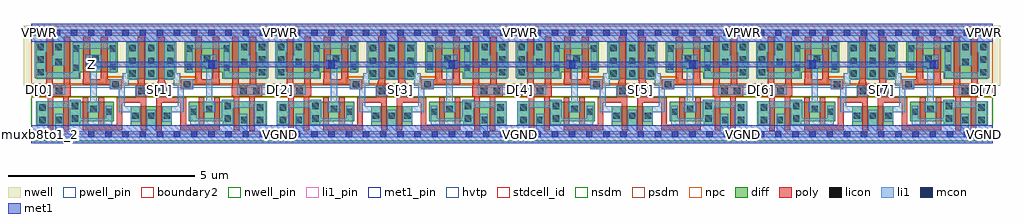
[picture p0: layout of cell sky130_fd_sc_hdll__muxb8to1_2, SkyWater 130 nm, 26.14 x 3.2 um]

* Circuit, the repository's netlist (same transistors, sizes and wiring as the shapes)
* Copyright 2020 The SkyWater PDK Authors
*
* Licensed under the Apache License, Version 2.0 (the "License");
* you may not use this file except in compliance with the License.
* You may obtain a copy of the License at
*
*     https://www.apache.org/licenses/LICENSE-2.0
*
* Unless required by applicable law or agreed to in writing, software
* distributed under the License is distributed on an "AS IS" BASIS,
* WITHOUT WARRANTIES OR CONDITIONS OF ANY KIND, either express or implied.
* See the License for the specific language governing permissions and
* limitations under the License.
*
* SPDX-License-Identifier: Apache-2.0

.SUBCKT sky130_fd_sc_hdll__muxb8to1_2 D[7] D[6] D[5] D[4] D[3] D[2] D[1] D[0] S[7] S[6] S[5] S[4] S[3] S[2] S[1] S[0] VGND VNB VPB VPWR Z
*.PININFO D[7]:I D[6]:I D[5]:I D[4]:I D[3]:I D[2]:I D[1]:I D[0]:I
*.PININFO S[7]:I S[6]:I S[5]:I S[4]:I S[3]:I S[2]:I S[1]:I S[0]:I
*.PININFO VGND:I VNB:I VPB:I VPWR:I Z:O
MMNA00 Z S[0] net87 VNB sky130_fd_pr__nfet_01v8 m=2 w=0.52U l=0.15U mult=1 sa=0.265
+ sb=0.265 sd=0.28 area=0.063 perim=1.14
MMNA01 net87 D[0] VGND VNB sky130_fd_pr__nfet_01v8 m=2 w=0.65U l=0.15U mult=1 sa=0.265
+ sb=0.265 sd=0.28 area=0.063 perim=1.14
MMIN1 SB0 S[0] VGND VNB sky130_fd_pr__nfet_01v8 m=1 w=0.52U l=0.15U mult=1 sa=0.265
+ sb=0.265 sd=0.28 area=0.063 perim=1.14
MI30 Z S[2] net51 VNB sky130_fd_pr__nfet_01v8 m=2 w=0.52U l=0.15U mult=1 sa=0.265
+ sb=0.265 sd=0.28 area=0.063 perim=1.14
MI29 net51 D[2] VGND VNB sky130_fd_pr__nfet_01v8 m=2 w=0.65U l=0.15U mult=1 sa=0.265
+ sb=0.265 sd=0.28 area=0.063 perim=1.14
MI28 SB2 S[2] VGND VNB sky130_fd_pr__nfet_01v8 m=1 w=0.52U l=0.15U mult=1 sa=0.265
+ sb=0.265 sd=0.28 area=0.063 perim=1.14
MI27 SB3 S[3] VGND VNB sky130_fd_pr__nfet_01v8 m=1 w=0.52U l=0.15U mult=1 sa=0.265
+ sb=0.265 sd=0.28 area=0.063 perim=1.14
MI26 net63 D[3] VGND VNB sky130_fd_pr__nfet_01v8 m=2 w=0.65U l=0.15U mult=1 sa=0.265
+ sb=0.265 sd=0.28 area=0.063 perim=1.14
MI25 Z S[3] net63 VNB sky130_fd_pr__nfet_01v8 m=2 w=0.52U l=0.15U mult=1 sa=0.265
+ sb=0.265 sd=0.28 area=0.063 perim=1.14
MI13 Z S[1] net75 VNB sky130_fd_pr__nfet_01v8 m=2 w=0.52U l=0.15U mult=1 sa=0.265
+ sb=0.265 sd=0.28 area=0.063 perim=1.14
MI12 net75 D[1] VGND VNB sky130_fd_pr__nfet_01v8 m=2 w=0.65U l=0.15U mult=1 sa=0.265
+ sb=0.265 sd=0.28 area=0.063 perim=1.14
MI11 SB1 S[1] VGND VNB sky130_fd_pr__nfet_01v8 m=1 w=0.52U l=0.15U mult=1 sa=0.265
+ sb=0.265 sd=0.28 area=0.063 perim=1.14
MI67 Z S[4] net073 VNB sky130_fd_pr__nfet_01v8 m=2 w=0.52U l=0.15U mult=1 sa=0.265
+ sb=0.265 sd=0.28 area=0.063 perim=1.14
MI66 net073 D[4] VGND VNB sky130_fd_pr__nfet_01v8 m=2 w=0.65U l=0.15U mult=1 sa=0.265
+ sb=0.265 sd=0.28 area=0.063 perim=1.14
MI65 SB4 S[4] VGND VNB sky130_fd_pr__nfet_01v8 m=1 w=0.52U l=0.15U mult=1 sa=0.265
+ sb=0.265 sd=0.28 area=0.063 perim=1.14
MI64 Z S[6] net085 VNB sky130_fd_pr__nfet_01v8 m=2 w=0.52U l=0.15U mult=1 sa=0.265
+ sb=0.265 sd=0.28 area=0.063 perim=1.14
MI63 net085 D[6] VGND VNB sky130_fd_pr__nfet_01v8 m=2 w=0.65U l=0.15U mult=1 sa=0.265
+ sb=0.265 sd=0.28 area=0.063 perim=1.14
MI62 SB6 S[6] VGND VNB sky130_fd_pr__nfet_01v8 m=1 w=0.52U l=0.15U mult=1 sa=0.265
+ sb=0.265 sd=0.28 area=0.063 perim=1.14
MI61 SB7 S[7] VGND VNB sky130_fd_pr__nfet_01v8 m=1 w=0.52U l=0.15U mult=1 sa=0.265
+ sb=0.265 sd=0.28 area=0.063 perim=1.14
MI60 net097 D[7] VGND VNB sky130_fd_pr__nfet_01v8 m=2 w=0.65U l=0.15U mult=1 sa=0.265
+ sb=0.265 sd=0.28 area=0.063 perim=1.14
MI59 Z S[7] net097 VNB sky130_fd_pr__nfet_01v8 m=2 w=0.52U l=0.15U mult=1 sa=0.265
+ sb=0.265 sd=0.28 area=0.063 perim=1.14
MI58 Z S[5] net0109 VNB sky130_fd_pr__nfet_01v8 m=2 w=0.52U l=0.15U mult=1 sa=0.265
+ sb=0.265 sd=0.28 area=0.063 perim=1.14
MI57 net0109 D[5] VGND VNB sky130_fd_pr__nfet_01v8 m=2 w=0.65U l=0.15U mult=1 sa=0.265
+ sb=0.265 sd=0.28 area=0.063 perim=1.14
MI56 SB5 S[5] VGND VNB sky130_fd_pr__nfet_01v8 m=1 w=0.52U l=0.15U mult=1 sa=0.265
+ sb=0.265 sd=0.28 area=0.063 perim=1.14
MI35 net99 SB2 Z VPB sky130_fd_pr__pfet_01v8_hvt m=2 w=0.82U l=0.18U mult=1 sa=0.265
+ sb=0.265 sd=0.28 area=0.063 perim=1.14
MI34 SB2 S[2] VPWR VPB sky130_fd_pr__pfet_01v8_hvt m=1 w=1.0U l=0.18U mult=1 sa=0.265
+ sb=0.265 sd=0.28 area=0.063 perim=1.14
MMPA00 VPWR D[0] net135 VPB sky130_fd_pr__pfet_01v8_hvt m=2 w=1.0U l=0.18U mult=1
+ sa=0.265 sb=0.265 sd=0.28 area=0.063 perim=1.14
MMPA01 net135 SB0 Z VPB sky130_fd_pr__pfet_01v8_hvt m=2 w=0.82U l=0.18U mult=1
+ sa=0.265 sb=0.265 sd=0.28 area=0.063 perim=1.14
MI33 SB3 S[3] VPWR VPB sky130_fd_pr__pfet_01v8_hvt m=1 w=1.0U l=0.18U mult=1 sa=0.265
+ sb=0.265 sd=0.28 area=0.063 perim=1.14
MI32 net111 SB3 Z VPB sky130_fd_pr__pfet_01v8_hvt m=2 w=0.82U l=0.18U mult=1 sa=0.265
+ sb=0.265 sd=0.28 area=0.063 perim=1.14
MI31 VPWR D[3] net111 VPB sky130_fd_pr__pfet_01v8_hvt m=2 w=1.0U l=0.18U mult=1
+ sa=0.265 sb=0.265 sd=0.28 area=0.063 perim=1.14
MMIP1 SB0 S[0] VPWR VPB sky130_fd_pr__pfet_01v8_hvt m=1 w=1.0U l=0.18U mult=1 sa=0.265
+ sb=0.265 sd=0.28 area=0.063 perim=1.14
MI15 net123 SB1 Z VPB sky130_fd_pr__pfet_01v8_hvt m=2 w=0.82U l=0.18U mult=1 sa=0.265
+ sb=0.265 sd=0.28 area=0.063 perim=1.14
MI16 VPWR D[1] net123 VPB sky130_fd_pr__pfet_01v8_hvt m=2 w=1.0U l=0.18U mult=1
+ sa=0.265 sb=0.265 sd=0.28 area=0.063 perim=1.14
MI14 SB1 S[1] VPWR VPB sky130_fd_pr__pfet_01v8_hvt m=1 w=1.0U l=0.18U mult=1 sa=0.265
+ sb=0.265 sd=0.28 area=0.063 perim=1.14
MI36 VPWR D[2] net99 VPB sky130_fd_pr__pfet_01v8_hvt m=2 w=1.0U l=0.18U mult=1
+ sa=0.265 sb=0.265 sd=0.28 area=0.063 perim=1.14
MI79 net0165 SB6 Z VPB sky130_fd_pr__pfet_01v8_hvt m=2 w=0.82U l=0.18U mult=1 sa=0.265
+ sb=0.265 sd=0.28 area=0.063 perim=1.14
MI78 SB6 S[6] VPWR VPB sky130_fd_pr__pfet_01v8_hvt m=1 w=1.0U l=0.18U mult=1 sa=0.265
+ sb=0.265 sd=0.28 area=0.063 perim=1.14
MI77 VPWR D[4] net0177 VPB sky130_fd_pr__pfet_01v8_hvt m=2 w=1.0U l=0.18U mult=1
+ sa=0.265 sb=0.265 sd=0.28 area=0.063 perim=1.14
MI76 net0177 SB4 Z VPB sky130_fd_pr__pfet_01v8_hvt m=2 w=0.82U l=0.18U mult=1 sa=0.265
+ sb=0.265 sd=0.28 area=0.063 perim=1.14
MI75 SB7 S[7] VPWR VPB sky130_fd_pr__pfet_01v8_hvt m=1 w=1.0U l=0.18U mult=1 sa=0.265
+ sb=0.265 sd=0.28 area=0.063 perim=1.14
MI74 net0185 SB7 Z VPB sky130_fd_pr__pfet_01v8_hvt m=2 w=0.82U l=0.18U mult=1 sa=0.265
+ sb=0.265 sd=0.28 area=0.063 perim=1.14
MI73 VPWR D[7] net0185 VPB sky130_fd_pr__pfet_01v8_hvt m=2 w=1.0U l=0.18U mult=1
+ sa=0.265 sb=0.265 sd=0.28 area=0.063 perim=1.14
MI72 SB4 S[4] VPWR VPB sky130_fd_pr__pfet_01v8_hvt m=1 w=1.0U l=0.18U mult=1 sa=0.265
+ sb=0.265 sd=0.28 area=0.063 perim=1.14
MI71 net0197 SB5 Z VPB sky130_fd_pr__pfet_01v8_hvt m=2 w=0.82U l=0.18U mult=1 sa=0.265
+ sb=0.265 sd=0.28 area=0.063 perim=1.14
MI70 VPWR D[5] net0197 VPB sky130_fd_pr__pfet_01v8_hvt m=2 w=1.0U l=0.18U mult=1
+ sa=0.265 sb=0.265 sd=0.28 area=0.063 perim=1.14
MI69 SB5 S[5] VPWR VPB sky130_fd_pr__pfet_01v8_hvt m=1 w=1.0U l=0.18U mult=1 sa=0.265
+ sb=0.265 sd=0.28 area=0.063 perim=1.14
MI68 VPWR D[6] net0165 VPB sky130_fd_pr__pfet_01v8_hvt m=2 w=1.0U l=0.18U mult=1
+ sa=0.265 sb=0.265 sd=0.28 area=0.063 perim=1.14
.ENDS sky130_fd_sc_hdll__muxb8to1_2

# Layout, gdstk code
import gdstk
lib = gdstk.Library(unit=1e-6, precision=1e-09)
def R(c, l, rs):  # rectangles x0, y0, x1, y1
    for r in rs: c.add(gdstk.rectangle(r[:2], r[2:], *l))
def A(c, l, x, y, w, h, nx, ny, dx, dy):  # array of equal rectangles
    R(c, l, [(x+i*dx, y+j*dy, x+i*dx+w, y+j*dy+h) for i in range(nx) for j in range(ny)])
def P(c, l, *ps):  # polygons
    for p in ps: c.add(gdstk.Polygon(p, *l))
nwell_pin = (64, 16)
nwell = (64, 20)
diff = (65, 20)
poly = (66, 20)
licon = (66, 44)
li1_pin = (67, 16)
li1 = (67, 20)
mcon = (67, 44)
met1_pin = (68, 16)
met1 = (68, 20)
hvtp = (78, 44)
stdcell_id = (81, 4)
nsdm = (93, 44)
psdm = (94, 20)
npc = (95, 20)
pwell_pin = (122, 16)
boundary2 = (236, 0)

sky130_fd_sc_hdll__muxb8 = lib.new_cell('sky130_fd_sc_hdll__muxb8to1_2')
R(sky130_fd_sc_hdll__muxb8, nwell_pin, [(0.145,2.635,0.315,2.805), (0.145,2.635,0.315,2.805), (6.125,2.635,6.295,2.805), (6.585,2.635,6.755,2.805), (12.565,2.635,12.735,2.805), (13.025,2.635,13.195,2.805), (19.005,2.635,19.175,2.805), (19.465,2.635,19.635,2.805), (25.445,2.635,25.615,2.805)])
R(sky130_fd_sc_hdll__muxb8, nwell, [(-0.19,1.305,3.87,2.91), (2.57,1.305,6.63,2.91), (6.25,1.305,10.31,2.91), (9.01,1.305,13.07,2.91), (12.69,1.305,16.75,2.91), (15.45,1.305,19.51,2.91), (19.13,1.305,23.19,2.91), (21.89,1.305,25.95,2.91)])
R(sky130_fd_sc_hdll__muxb8, diff, [(2.675,0.235,3.345,0.755), (3.095,0.235,3.765,0.755), (9.115,0.235,9.785,0.755), (9.535,0.235,10.205,0.755), (15.555,0.235,16.225,0.755), (15.975,0.235,16.645,0.755), (21.995,0.235,22.665,0.755), (22.415,0.235,23.085,0.755), (2.59,1.485,3.345,2.485), (3.095,1.485,3.85,2.485), (9.03,1.485,9.785,2.485), (9.535,1.485,10.29,2.485), (15.47,1.485,16.225,2.485), (15.975,1.485,16.73,2.485), (21.91,1.485,22.665,2.485), (22.415,1.485,23.17,2.485)])
P(sky130_fd_sc_hdll__muxb8, diff, [(15.2,2.485),(13.015,2.485),(13.015,1.485),(14.195,1.485),(14.195,1.665),(15.2,1.665)],
  [(15.095,0.865),(14.19,0.865),(14.19,0.885),(13.015,0.885),(13.015,0.235),(14.19,0.235),(14.19,0.345),(15.095,0.345)],
  [(10.56,2.485),(12.745,2.485),(12.745,1.485),(11.565,1.485),(11.565,1.665),(10.56,1.665)],
  [(10.665,0.865),(11.57,0.865),(11.57,0.885),(12.745,0.885),(12.745,0.235),(11.57,0.235),(11.57,0.345),(10.665,0.345)],
  [(8.76,2.485),(6.575,2.485),(6.575,1.485),(7.755,1.485),(7.755,1.665),(8.76,1.665)],
  [(8.655,0.865),(7.75,0.865),(7.75,0.885),(6.575,0.885),(6.575,0.235),(7.75,0.235),(7.75,0.345),(8.655,0.345)],
  [(4.12,2.485),(6.305,2.485),(6.305,1.485),(5.125,1.485),(5.125,1.665),(4.12,1.665)],
  [(4.225,0.865),(5.13,0.865),(5.13,0.885),(6.305,0.885),(6.305,0.235),(5.13,0.235),(5.13,0.345),(4.225,0.345)],
  [(2.32,2.485),(0.135,2.485),(0.135,1.485),(1.315,1.485),(1.315,1.665),(2.32,1.665)],
  [(2.215,0.865),(1.31,0.865),(1.31,0.885),(0.135,0.885),(0.135,0.235),(1.31,0.235),(1.31,0.345),(2.215,0.345)],
  [(17.105,0.865),(18.01,0.865),(18.01,0.885),(19.185,0.885),(19.185,0.235),(18.01,0.235),(18.01,0.345),(17.105,0.345)],
  [(17,2.485),(19.185,2.485),(19.185,1.485),(18.005,1.485),(18.005,1.665),(17,1.665)],
  [(21.535,0.865),(20.63,0.865),(20.63,0.885),(19.455,0.885),(19.455,0.235),(20.63,0.235),(20.63,0.345),(21.535,0.345)],
  [(21.64,2.485),(19.455,2.485),(19.455,1.485),(20.635,1.485),(20.635,1.665),(21.64,1.665)],
  [(23.545,0.865),(24.45,0.865),(24.45,0.885),(25.625,0.885),(25.625,0.235),(24.45,0.235),(24.45,0.345),(23.545,0.345)],
  [(23.44,2.485),(25.625,2.485),(25.625,1.485),(24.445,1.485),(24.445,1.665),(23.44,1.665)])
R(sky130_fd_sc_hdll__muxb8, poly, [(1.385,0.105,1.535,0.995), (1.41,0.105,2.415,0.255), (1.805,0.105,1.955,0.995), (2.29,0.105,2.44,0.995), (2.935,0.105,3.085,0.995), (3.355,0.105,3.505,0.995), (4,0.105,4.15,0.995), (4.025,0.105,5.03,0.255), (4.485,0.105,4.635,0.995), (4.905,0.105,5.055,0.995), (7.825,0.105,7.975,0.995), (7.85,0.105,8.855,0.255), (8.245,0.105,8.395,0.995), (8.73,0.105,8.88,0.995), (9.375,0.105,9.525,0.995), (9.795,0.105,9.945,0.995), (10.44,0.105,10.59,0.995), (10.465,0.105,11.47,0.255), (10.925,0.105,11.075,0.995), (11.345,0.105,11.495,0.995), (14.265,0.105,14.415,0.995), (14.29,0.105,15.295,0.255), (14.685,0.105,14.835,0.995), (15.17,0.105,15.32,0.995), (15.815,0.105,15.965,0.995), (16.235,0.105,16.385,0.995), (16.88,0.105,17.03,0.995), (16.905,0.105,17.91,0.255), (17.365,0.105,17.515,0.995), (17.785,0.105,17.935,0.995), (20.705,0.105,20.855,0.995), (20.73,0.105,21.735,0.255), (21.125,0.105,21.275,0.995), (21.61,0.105,21.76,0.995), (22.255,0.105,22.405,0.995), (22.675,0.105,22.825,0.995), (23.32,0.105,23.47,0.995), (23.345,0.105,24.35,0.255), (23.805,0.105,23.955,0.995), (24.225,0.105,24.375,0.995), (2.425,0.845,2.96,0.995), (3.48,0.845,4.015,0.995), (8.865,0.845,9.4,0.995), (9.92,0.845,10.455,0.995), (15.305,0.845,15.84,0.995), (16.36,0.845,16.895,0.995), (21.745,0.845,22.28,0.995), (22.8,0.845,23.335,0.995), (2.82,0.995,3.09,1.325), (3.35,0.995,3.62,1.325), (9.26,0.995,9.53,1.325), (9.79,0.995,10.06,1.325), (15.7,0.995,15.97,1.325), (16.23,0.995,16.5,1.325), (22.14,0.995,22.41,1.325), (22.67,0.995,22.94,1.325), (2.1,1.205,2.43,1.475), (4.01,1.205,4.34,1.475), (8.54,1.205,8.87,1.475), (10.45,1.205,10.78,1.475), (14.98,1.205,15.31,1.475), (16.89,1.205,17.22,1.475), (21.42,1.205,21.75,1.475), (23.33,1.205,23.66,1.475), (1.39,1.325,2.2,1.475), (4.24,1.325,5.05,1.475), (7.83,1.325,8.64,1.475), (10.68,1.325,11.49,1.475), (14.27,1.325,15.08,1.475), (17.12,1.325,17.93,1.475), (20.71,1.325,21.52,1.475), (23.56,1.325,24.37,1.475)])
P(sky130_fd_sc_hdll__muxb8, poly, [(17.93,1.41),(17.92,1.41),(17.92,2.615),(17.74,2.615),(17.74,1.41),(17.73,1.41),(17.73,1.325),(17.93,1.325)],
  [(17.46,1.41),(17.45,1.41),(17.45,2.615),(17.27,2.615),(17.27,1.41),(17.26,1.41),(17.26,1.325),(17.46,1.325)],
  [(18.255,1.295),(18.265,1.295),(18.265,2.615),(18.445,2.615),(18.445,1.295),(18.735,1.295),(18.735,2.615),(18.915,2.615),(18.915,1.295),(19.075,1.295),(19.075,1.025),(18.875,1.025),(18.875,0.095),(18.725,0.095),(18.725,1.025),(18.455,1.025),(18.455,0.105),(18.305,0.105),(18.305,1.025),(18.255,1.025)],
  [(16.27,1.41),(16.28,1.41),(16.28,2.615),(16.46,2.615),(16.46,1.41),(16.47,1.41),(16.47,1.195),(16.27,1.195)],
  [(14.27,1.41),(14.28,1.41),(14.28,2.615),(14.46,2.615),(14.46,1.41),(14.47,1.41),(14.47,1.325),(14.27,1.325)],
  [(14.74,1.41),(14.75,1.41),(14.75,2.615),(14.93,2.615),(14.93,1.41),(14.94,1.41),(14.94,1.325),(14.74,1.325)],
  [(13.945,1.295),(13.935,1.295),(13.935,2.615),(13.755,2.615),(13.755,1.295),(13.465,1.295),(13.465,2.615),(13.285,2.615),(13.285,1.295),(13.125,1.295),(13.125,1.025),(13.325,1.025),(13.325,0.095),(13.475,0.095),(13.475,1.025),(13.745,1.025),(13.745,0.105),(13.895,0.105),(13.895,1.025),(13.945,1.025)],
  [(15.93,1.41),(15.92,1.41),(15.92,2.615),(15.74,2.615),(15.74,1.41),(15.73,1.41),(15.73,1.195),(15.93,1.195)],
  [(11.49,1.41),(11.48,1.41),(11.48,2.615),(11.3,2.615),(11.3,1.41),(11.29,1.41),(11.29,1.325),(11.49,1.325)],
  [(11.02,1.41),(11.01,1.41),(11.01,2.615),(10.83,2.615),(10.83,1.41),(10.82,1.41),(10.82,1.325),(11.02,1.325)],
  [(11.815,1.295),(11.825,1.295),(11.825,2.615),(12.005,2.615),(12.005,1.295),(12.295,1.295),(12.295,2.615),(12.475,2.615),(12.475,1.295),(12.635,1.295),(12.635,1.025),(12.435,1.025),(12.435,0.095),(12.285,0.095),(12.285,1.025),(12.015,1.025),(12.015,0.105),(11.865,0.105),(11.865,1.025),(11.815,1.025)],
  [(9.83,1.41),(9.84,1.41),(9.84,2.615),(10.02,2.615),(10.02,1.41),(10.03,1.41),(10.03,1.195),(9.83,1.195)],
  [(7.83,1.41),(7.84,1.41),(7.84,2.615),(8.02,2.615),(8.02,1.41),(8.03,1.41),(8.03,1.325),(7.83,1.325)],
  [(8.3,1.41),(8.31,1.41),(8.31,2.615),(8.49,2.615),(8.49,1.41),(8.5,1.41),(8.5,1.325),(8.3,1.325)],
  [(7.505,1.295),(7.495,1.295),(7.495,2.615),(7.315,2.615),(7.315,1.295),(7.025,1.295),(7.025,2.615),(6.845,2.615),(6.845,1.295),(6.685,1.295),(6.685,1.025),(6.885,1.025),(6.885,0.095),(7.035,0.095),(7.035,1.025),(7.305,1.025),(7.305,0.105),(7.455,0.105),(7.455,1.025),(7.505,1.025)],
  [(9.49,1.41),(9.48,1.41),(9.48,2.615),(9.3,2.615),(9.3,1.41),(9.29,1.41),(9.29,1.195),(9.49,1.195)],
  [(5.05,1.41),(5.04,1.41),(5.04,2.615),(4.86,2.615),(4.86,1.41),(4.85,1.41),(4.85,1.325),(5.05,1.325)],
  [(4.58,1.41),(4.57,1.41),(4.57,2.615),(4.39,2.615),(4.39,1.41),(4.38,1.41),(4.38,1.325),(4.58,1.325)],
  [(5.375,1.295),(5.385,1.295),(5.385,2.615),(5.565,2.615),(5.565,1.295),(5.855,1.295),(5.855,2.615),(6.035,2.615),(6.035,1.295),(6.195,1.295),(6.195,1.025),(5.995,1.025),(5.995,0.095),(5.845,0.095),(5.845,1.025),(5.575,1.025),(5.575,0.105),(5.425,0.105),(5.425,1.025),(5.375,1.025)],
  [(3.39,1.41),(3.4,1.41),(3.4,2.615),(3.58,2.615),(3.58,1.41),(3.59,1.41),(3.59,1.195),(3.39,1.195)],
  [(1.39,1.41),(1.4,1.41),(1.4,2.615),(1.58,2.615),(1.58,1.41),(1.59,1.41),(1.59,1.325),(1.39,1.325)],
  [(1.86,1.41),(1.87,1.41),(1.87,2.615),(2.05,2.615),(2.05,1.41),(2.06,1.41),(2.06,1.325),(1.86,1.325)],
  [(1.065,1.295),(1.055,1.295),(1.055,2.615),(0.875,2.615),(0.875,1.295),(0.585,1.295),(0.585,2.615),(0.405,2.615),(0.405,1.295),(0.245,1.295),(0.245,1.025),(0.445,1.025),(0.445,0.095),(0.595,0.095),(0.595,1.025),(0.865,1.025),(0.865,0.105),(1.015,0.105),(1.015,1.025),(1.065,1.025)],
  [(3.05,1.41),(3.04,1.41),(3.04,2.615),(2.86,2.615),(2.86,1.41),(2.85,1.41),(2.85,1.195),(3.05,1.195)],
  [(22.37,1.41),(22.36,1.41),(22.36,2.615),(22.18,2.615),(22.18,1.41),(22.17,1.41),(22.17,1.195),(22.37,1.195)],
  [(20.385,1.295),(20.375,1.295),(20.375,2.615),(20.195,2.615),(20.195,1.295),(19.905,1.295),(19.905,2.615),(19.725,2.615),(19.725,1.295),(19.565,1.295),(19.565,1.025),(19.765,1.025),(19.765,0.095),(19.915,0.095),(19.915,1.025),(20.185,1.025),(20.185,0.105),(20.335,0.105),(20.335,1.025),(20.385,1.025)],
  [(21.18,1.41),(21.19,1.41),(21.19,2.615),(21.37,2.615),(21.37,1.41),(21.38,1.41),(21.38,1.325),(21.18,1.325)],
  [(20.71,1.41),(20.72,1.41),(20.72,2.615),(20.9,2.615),(20.9,1.41),(20.91,1.41),(20.91,1.325),(20.71,1.325)],
  [(22.71,1.41),(22.72,1.41),(22.72,2.615),(22.9,2.615),(22.9,1.41),(22.91,1.41),(22.91,1.195),(22.71,1.195)],
  [(24.695,1.295),(24.705,1.295),(24.705,2.615),(24.885,2.615),(24.885,1.295),(25.175,1.295),(25.175,2.615),(25.355,2.615),(25.355,1.295),(25.515,1.295),(25.515,1.025),(25.315,1.025),(25.315,0.095),(25.165,0.095),(25.165,1.025),(24.895,1.025),(24.895,0.105),(24.745,0.105),(24.745,1.025),(24.695,1.025)],
  [(23.9,1.41),(23.89,1.41),(23.89,2.615),(23.71,2.615),(23.71,1.41),(23.7,1.41),(23.7,1.325),(23.9,1.325)],
  [(24.37,1.41),(24.36,1.41),(24.36,2.615),(24.18,2.615),(24.18,1.41),(24.17,1.41),(24.17,1.325),(24.37,1.325)])
A(sky130_fd_sc_hdll__muxb8, licon, 2.63, 1.545, 0.17, 0.17, 1, 3, 0, 0.34)
A(sky130_fd_sc_hdll__muxb8, licon, 3.64, 1.545, 0.17, 0.17, 1, 3, 0, 0.34)
A(sky130_fd_sc_hdll__muxb8, licon, 9.07, 1.545, 0.17, 0.17, 1, 3, 0, 0.34)
A(sky130_fd_sc_hdll__muxb8, licon, 10.08, 1.545, 0.17, 0.17, 1, 3, 0, 0.34)
A(sky130_fd_sc_hdll__muxb8, licon, 15.51, 1.545, 0.17, 0.17, 1, 3, 0, 0.34)
A(sky130_fd_sc_hdll__muxb8, licon, 16.52, 1.545, 0.17, 0.17, 1, 3, 0, 0.34)
A(sky130_fd_sc_hdll__muxb8, licon, 21.95, 1.545, 0.17, 0.17, 1, 3, 0, 0.34)
A(sky130_fd_sc_hdll__muxb8, licon, 22.96, 1.545, 0.17, 0.17, 1, 3, 0, 0.34)
A(sky130_fd_sc_hdll__muxb8, licon, 0.175, 1.575, 0.17, 0.17, 1, 3, 0, 0.34)
A(sky130_fd_sc_hdll__muxb8, licon, 6.095, 1.575, 0.17, 0.17, 1, 3, 0, 0.34)
A(sky130_fd_sc_hdll__muxb8, licon, 6.615, 1.575, 0.17, 0.17, 1, 3, 0, 0.34)
A(sky130_fd_sc_hdll__muxb8, licon, 12.535, 1.575, 0.17, 0.17, 1, 3, 0, 0.34)
A(sky130_fd_sc_hdll__muxb8, licon, 13.055, 1.575, 0.17, 0.17, 1, 3, 0, 0.34)
A(sky130_fd_sc_hdll__muxb8, licon, 18.975, 1.575, 0.17, 0.17, 1, 3, 0, 0.34)
A(sky130_fd_sc_hdll__muxb8, licon, 19.495, 1.575, 0.17, 0.17, 1, 3, 0, 0.34)
A(sky130_fd_sc_hdll__muxb8, licon, 25.415, 1.575, 0.17, 0.17, 1, 3, 0, 0.34)
R(sky130_fd_sc_hdll__muxb8, licon, [(0.225,0.295,0.395,0.465), (0.645,0.295,0.815,0.465), (5.625,0.295,5.795,0.465), (6.045,0.295,6.215,0.465), (6.665,0.295,6.835,0.465), (7.085,0.295,7.255,0.465), (12.065,0.295,12.235,0.465), (12.485,0.295,12.655,0.465), (13.105,0.295,13.275,0.465), (13.525,0.295,13.695,0.465), (18.505,0.295,18.675,0.465), (18.925,0.295,19.095,0.465), (19.545,0.295,19.715,0.465), (19.965,0.295,20.135,0.465), (24.945,0.295,25.115,0.465), (25.365,0.295,25.535,0.465), (1.09,0.335,1.26,0.505), (5.18,0.335,5.35,0.505), (7.53,0.335,7.7,0.505), (11.62,0.335,11.79,0.505), (13.97,0.335,14.14,0.505), (18.06,0.335,18.23,0.505), (20.41,0.335,20.58,0.505), (24.5,0.335,24.67,0.505), (2.715,0.41,2.885,0.58), (3.135,0.41,3.305,0.58), (3.135,0.41,3.305,0.58), (3.555,0.41,3.725,0.58), (9.155,0.41,9.325,0.58), (9.575,0.41,9.745,0.58), (9.575,0.41,9.745,0.58), (9.995,0.41,10.165,0.58), (15.595,0.41,15.765,0.58), (16.015,0.41,16.185,0.58), (16.015,0.41,16.185,0.58), (16.435,0.41,16.605,0.58), (22.035,0.41,22.205,0.58), (22.455,0.41,22.625,0.58), (22.455,0.41,22.625,0.58), (22.875,0.41,23.045,0.58), (2.005,0.52,2.175,0.69), (4.265,0.52,4.435,0.69), (8.445,0.52,8.615,0.69), (10.705,0.52,10.875,0.69), (14.885,0.52,15.055,0.69), (17.145,0.52,17.315,0.69), (21.325,0.52,21.495,0.69), (23.585,0.52,23.755,0.69), (1.585,0.595,1.755,0.765), (4.685,0.595,4.855,0.765), (8.025,0.595,8.195,0.765), (11.125,0.595,11.295,0.765), (14.465,0.595,14.635,0.765), (17.565,0.595,17.735,0.765), (20.905,0.595,21.075,0.765), (24.005,0.595,24.175,0.765), (0.225,0.635,0.395,0.805), (6.045,0.635,6.215,0.805), (6.665,0.635,6.835,0.805), (12.485,0.635,12.655,0.805), (13.105,0.635,13.275,0.805), (18.925,0.635,19.095,0.805), (19.545,0.635,19.715,0.805), (25.365,0.635,25.535,0.805), (1.09,0.675,1.26,0.845), (5.18,0.675,5.35,0.845), (7.53,0.675,7.7,0.845), (11.62,0.675,11.79,0.845), (13.97,0.675,14.14,0.845), (18.06,0.675,18.23,0.845), (20.41,0.675,20.58,0.845), (24.5,0.675,24.67,0.845), (0.325,1.075,0.495,1.245), (0.665,1.075,0.835,1.245), (2.87,1.075,3.04,1.245), (3.4,1.075,3.57,1.245), (5.605,1.075,5.775,1.245), (5.945,1.075,6.115,1.245), (6.765,1.075,6.935,1.245), (7.105,1.075,7.275,1.245), (9.31,1.075,9.48,1.245), (9.84,1.075,10.01,1.245), (12.045,1.075,12.215,1.245), (12.385,1.075,12.555,1.245), (13.205,1.075,13.375,1.245), (13.545,1.075,13.715,1.245), (15.75,1.075,15.92,1.245), (16.28,1.075,16.45,1.245), (18.485,1.075,18.655,1.245), (18.825,1.075,18.995,1.245), (19.645,1.075,19.815,1.245), (19.985,1.075,20.155,1.245), (22.19,1.075,22.36,1.245), (22.72,1.075,22.89,1.245), (24.925,1.075,25.095,1.245), (25.265,1.075,25.435,1.245), (2.18,1.255,2.35,1.425), (4.09,1.255,4.26,1.425), (8.62,1.255,8.79,1.425), (10.53,1.255,10.7,1.425), (15.06,1.255,15.23,1.425), (16.97,1.255,17.14,1.425), (21.5,1.255,21.67,1.425), (23.41,1.255,23.58,1.425), (3.135,1.545,3.305,1.715), (3.135,1.545,3.305,1.715), (9.575,1.545,9.745,1.715), (9.575,1.545,9.745,1.715), (16.015,1.545,16.185,1.715), (16.015,1.545,16.185,1.715), (22.455,1.545,22.625,1.715), (22.455,1.545,22.625,1.715), (1.115,1.695,1.285,1.865), (5.155,1.695,5.325,1.865), (7.555,1.695,7.725,1.865), (11.595,1.695,11.765,1.865), (13.995,1.695,14.165,1.865), (18.035,1.695,18.205,1.865), (20.435,1.695,20.605,1.865), (24.475,1.695,24.645,1.865), (2.11,1.725,2.28,1.895), (4.16,1.725,4.33,1.895), (8.55,1.725,8.72,1.895), (10.6,1.725,10.77,1.895), (14.99,1.725,15.16,1.895), (17.04,1.725,17.21,1.895), (21.43,1.725,21.6,1.895), (23.48,1.725,23.65,1.895), (0.645,1.855,0.815,2.025), (5.625,1.855,5.795,2.025), (7.085,1.855,7.255,2.025), (12.065,1.855,12.235,2.025), (13.525,1.855,13.695,2.025), (18.505,1.855,18.675,2.025), (19.965,1.855,20.135,2.025), (24.945,1.855,25.115,2.025), (3.135,1.885,3.305,2.055), (3.135,1.885,3.305,2.055), (9.575,1.885,9.745,2.055), (9.575,1.885,9.745,2.055), (16.015,1.885,16.185,2.055), (16.015,1.885,16.185,2.055), (22.455,1.885,22.625,2.055), (22.455,1.885,22.625,2.055), (1.64,1.935,1.81,2.105), (4.63,1.935,4.8,2.105), (8.08,1.935,8.25,2.105), (11.07,1.935,11.24,2.105), (14.52,1.935,14.69,2.105), (17.51,1.935,17.68,2.105), (20.96,1.935,21.13,2.105), (23.95,1.935,24.12,2.105), (1.115,2.215,1.285,2.385), (2.11,2.215,2.28,2.385), (4.16,2.215,4.33,2.385), (5.155,2.215,5.325,2.385), (7.555,2.215,7.725,2.385), (8.55,2.215,8.72,2.385), (10.6,2.215,10.77,2.385), (11.595,2.215,11.765,2.385), (13.995,2.215,14.165,2.385), (14.99,2.215,15.16,2.385), (17.04,2.215,17.21,2.385), (18.035,2.215,18.205,2.385), (20.435,2.215,20.605,2.385), (21.43,2.215,21.6,2.385), (23.48,2.215,23.65,2.385), (24.475,2.215,24.645,2.385), (3.135,2.225,3.305,2.395), (3.135,2.225,3.305,2.395), (9.575,2.225,9.745,2.395), (9.575,2.225,9.745,2.395), (16.015,2.225,16.185,2.395), (16.015,2.225,16.185,2.395), (22.455,2.225,22.625,2.395), (22.455,2.225,22.625,2.395), (0.645,2.255,0.815,2.425), (5.625,2.255,5.795,2.425), (7.085,2.255,7.255,2.425), (12.065,2.255,12.235,2.425), (13.525,2.255,13.695,2.425), (18.505,2.255,18.675,2.425), (19.965,2.255,20.135,2.425), (24.945,2.255,25.115,2.425)])
R(sky130_fd_sc_hdll__muxb8, li1_pin, [(0.145,1.105,0.315,1.275), (0.145,1.105,0.315,1.275), (2.905,1.105,3.075,1.275), (2.905,1.105,3.075,1.275), (3.365,1.105,3.535,1.275), (3.365,1.105,3.535,1.275), (6.125,1.105,6.295,1.275), (6.125,1.105,6.295,1.275), (6.585,1.105,6.755,1.275), (6.585,1.105,6.755,1.275), (9.345,1.105,9.515,1.275), (9.345,1.105,9.515,1.275), (9.805,1.105,9.975,1.275), (9.805,1.105,9.975,1.275), (12.565,1.105,12.735,1.275), (12.565,1.105,12.735,1.275), (13.025,1.105,13.195,1.275), (13.025,1.105,13.195,1.275), (15.785,1.105,15.955,1.275), (15.785,1.105,15.955,1.275), (16.245,1.105,16.415,1.275), (16.245,1.105,16.415,1.275), (19.005,1.105,19.175,1.275), (19.005,1.105,19.175,1.275), (19.465,1.105,19.635,1.275), (19.465,1.105,19.635,1.275), (22.225,1.105,22.395,1.275), (22.225,1.105,22.395,1.275), (22.685,1.105,22.855,1.275), (22.685,1.105,22.855,1.275), (25.445,1.105,25.615,1.275), (25.445,1.105,25.615,1.275)])
R(sky130_fd_sc_hdll__muxb8, li1, [(0,-0.085,3.68,0.085), (2.76,-0.085,6.44,0.085), (6.44,-0.085,10.12,0.085), (9.2,-0.085,12.88,0.085), (12.88,-0.085,16.56,0.085), (15.64,-0.085,19.32,0.085), (19.32,-0.085,23,0.085), (22.08,-0.085,25.76,0.085), (0.645,0.085,0.86,0.545), (3.095,0.085,3.345,0.66), (3.095,0.085,3.345,0.66), (5.58,0.085,5.795,0.545), (7.085,0.085,7.3,0.545), (9.535,0.085,9.785,0.66), (9.535,0.085,9.785,0.66), (12.02,0.085,12.235,0.545), (13.525,0.085,13.74,0.545), (15.975,0.085,16.225,0.66), (15.975,0.085,16.225,0.66), (18.46,0.085,18.675,0.545), (19.965,0.085,20.18,0.545), (22.415,0.085,22.665,0.66), (22.415,0.085,22.665,0.66), (24.9,0.085,25.115,0.545), (2.675,0.33,2.925,0.755), (3.515,0.33,3.765,0.755), (9.115,0.33,9.365,0.755), (9.955,0.33,10.205,0.755), (15.555,0.33,15.805,0.755), (16.395,0.33,16.645,0.755), (21.995,0.33,22.245,0.755), (22.835,0.33,23.085,0.755), (1.505,0.595,1.835,0.885), (4.605,0.595,4.935,0.885), (7.945,0.595,8.275,0.885), (11.045,0.595,11.375,0.885), (14.385,0.595,14.715,0.885), (17.485,0.595,17.815,0.885), (20.825,0.595,21.155,0.885), (23.925,0.595,24.255,0.885), (1.585,0.885,1.755,1.985), (4.685,0.885,4.855,1.985), (8.025,0.885,8.195,1.985), (11.125,0.885,11.295,1.985), (14.465,0.885,14.635,1.985), (17.565,0.885,17.735,1.985), (20.905,0.885,21.075,1.985), (24.005,0.885,24.175,1.985), (2.79,1.025,3.125,1.295), (3.315,1.025,3.65,1.295), (9.23,1.025,9.565,1.295), (9.755,1.025,10.09,1.295), (15.67,1.025,16.005,1.295), (16.195,1.025,16.53,1.295), (22.11,1.025,22.445,1.295), (22.635,1.025,22.97,1.295), (0.095,1.055,0.915,1.325), (5.525,1.055,6.345,1.325), (6.535,1.055,7.355,1.325), (11.965,1.055,12.785,1.325), (12.975,1.055,13.795,1.325), (18.405,1.055,19.225,1.325), (19.415,1.055,20.235,1.325), (24.845,1.055,25.665,1.325), (2.1,1.205,2.43,1.475), (4.01,1.205,4.34,1.475), (8.54,1.205,8.87,1.475), (10.45,1.205,10.78,1.475), (14.98,1.205,15.31,1.475), (16.89,1.205,17.22,1.475), (21.42,1.205,21.75,1.475), (23.33,1.205,23.66,1.475), (3.055,1.465,3.385,2.635), (3.055,1.465,3.385,2.635), (9.495,1.465,9.825,2.635), (9.495,1.465,9.825,2.635), (15.935,1.465,16.265,2.635), (15.935,1.465,16.265,2.635), (22.375,1.465,22.705,2.635), (22.375,1.465,22.705,2.635), (1.465,1.755,1.895,2.125), (4.545,1.755,4.975,2.125), (7.905,1.755,8.335,2.125), (10.985,1.755,11.415,2.125), (14.345,1.755,14.775,2.125), (17.425,1.755,17.855,2.125), (20.785,1.755,21.215,2.125), (23.865,1.755,24.295,2.125), (0,2.635,3.68,2.805), (2.76,2.635,6.44,2.805), (6.44,2.635,10.12,2.805), (9.2,2.635,12.88,2.805), (12.88,2.635,16.56,2.805), (15.64,2.635,19.32,2.805), (19.32,2.635,23,2.805), (22.08,2.635,25.76,2.805)])
P(sky130_fd_sc_hdll__muxb8, li1, [(13.775,2.635),(13.475,2.635),(13.475,2.105),(13.445,2.105),(13.445,1.835),(13.775,1.835)],
  [(15.16,2.465),(13.995,2.465),(13.995,1.665),(13.275,1.665),(13.275,2.21),(13.305,2.21),(13.305,2.465),(12.975,2.465),(12.975,1.495),(14.165,1.495),(14.165,2.295),(14.99,2.295),(14.99,1.645),(15.16,1.645)],
  [(15.055,0.77),(14.885,0.77),(14.885,0.425),(14.215,0.425),(14.215,0.925),(13.91,0.925),(13.91,0.885),(13.025,0.885),(13.025,0.255),(13.355,0.255),(13.355,0.715),(13.91,0.715),(13.91,0.255),(15.055,0.255)],
  [(15.76,2.465),(15.43,2.465),(15.43,1.635),(15.33,1.635),(15.33,1.475),(15.225,1.475),(15.225,0.585),(15.725,0.585),(15.725,0.755),(15.395,0.755),(15.395,1.305),(15.5,1.305),(15.5,1.465),(15.76,1.465)],
  [(11.985,2.635),(12.285,2.635),(12.285,2.105),(12.315,2.105),(12.315,1.835),(11.985,1.835)],
  [(10.6,2.465),(11.765,2.465),(11.765,1.665),(12.485,1.665),(12.485,2.21),(12.455,2.21),(12.455,2.465),(12.785,2.465),(12.785,1.495),(11.595,1.495),(11.595,2.295),(10.77,2.295),(10.77,1.645),(10.6,1.645)],
  [(10.705,0.77),(10.875,0.77),(10.875,0.425),(11.545,0.425),(11.545,0.925),(11.85,0.925),(11.85,0.885),(12.735,0.885),(12.735,0.255),(12.405,0.255),(12.405,0.715),(11.85,0.715),(11.85,0.255),(10.705,0.255)],
  [(10,2.465),(10.33,2.465),(10.33,1.635),(10.43,1.635),(10.43,1.475),(10.535,1.475),(10.535,0.585),(10.035,0.585),(10.035,0.755),(10.365,0.755),(10.365,1.305),(10.26,1.305),(10.26,1.465),(10,1.465)],
  [(7.335,2.635),(7.035,2.635),(7.035,2.105),(7.005,2.105),(7.005,1.835),(7.335,1.835)],
  [(8.72,2.465),(7.555,2.465),(7.555,1.665),(6.835,1.665),(6.835,2.21),(6.865,2.21),(6.865,2.465),(6.535,2.465),(6.535,1.495),(7.725,1.495),(7.725,2.295),(8.55,2.295),(8.55,1.645),(8.72,1.645)],
  [(8.615,0.77),(8.445,0.77),(8.445,0.425),(7.775,0.425),(7.775,0.925),(7.47,0.925),(7.47,0.885),(6.585,0.885),(6.585,0.255),(6.915,0.255),(6.915,0.715),(7.47,0.715),(7.47,0.255),(8.615,0.255)],
  [(9.32,2.465),(8.99,2.465),(8.99,1.635),(8.89,1.635),(8.89,1.475),(8.785,1.475),(8.785,0.585),(9.285,0.585),(9.285,0.755),(8.955,0.755),(8.955,1.305),(9.06,1.305),(9.06,1.465),(9.32,1.465)],
  [(5.545,2.635),(5.845,2.635),(5.845,2.105),(5.875,2.105),(5.875,1.835),(5.545,1.835)],
  [(4.16,2.465),(5.325,2.465),(5.325,1.665),(6.045,1.665),(6.045,2.21),(6.015,2.21),(6.015,2.465),(6.345,2.465),(6.345,1.495),(5.155,1.495),(5.155,2.295),(4.33,2.295),(4.33,1.645),(4.16,1.645)],
  [(4.265,0.77),(4.435,0.77),(4.435,0.425),(5.105,0.425),(5.105,0.925),(5.41,0.925),(5.41,0.885),(6.295,0.885),(6.295,0.255),(5.965,0.255),(5.965,0.715),(5.41,0.715),(5.41,0.255),(4.265,0.255)],
  [(3.56,2.465),(3.89,2.465),(3.89,1.635),(3.99,1.635),(3.99,1.475),(4.095,1.475),(4.095,0.585),(3.595,0.585),(3.595,0.755),(3.925,0.755),(3.925,1.305),(3.82,1.305),(3.82,1.465),(3.56,1.465)],
  [(0.895,2.635),(0.595,2.635),(0.595,2.105),(0.565,2.105),(0.565,1.835),(0.895,1.835)],
  [(2.28,2.465),(1.115,2.465),(1.115,1.665),(0.395,1.665),(0.395,2.21),(0.425,2.21),(0.425,2.465),(0.095,2.465),(0.095,1.495),(1.285,1.495),(1.285,2.295),(2.11,2.295),(2.11,1.645),(2.28,1.645)],
  [(2.175,0.77),(2.005,0.77),(2.005,0.425),(1.335,0.425),(1.335,0.925),(1.03,0.925),(1.03,0.885),(0.145,0.885),(0.145,0.255),(0.475,0.255),(0.475,0.715),(1.03,0.715),(1.03,0.255),(2.175,0.255)],
  [(2.88,2.465),(2.55,2.465),(2.55,1.635),(2.45,1.635),(2.45,1.475),(2.345,1.475),(2.345,0.585),(2.845,0.585),(2.845,0.755),(2.515,0.755),(2.515,1.305),(2.62,1.305),(2.62,1.465),(2.88,1.465)],
  [(16.44,2.465),(16.77,2.465),(16.77,1.635),(16.87,1.635),(16.87,1.475),(16.975,1.475),(16.975,0.585),(16.475,0.585),(16.475,0.755),(16.805,0.755),(16.805,1.305),(16.7,1.305),(16.7,1.465),(16.44,1.465)],
  [(17.145,0.77),(17.315,0.77),(17.315,0.425),(17.985,0.425),(17.985,0.925),(18.29,0.925),(18.29,0.885),(19.175,0.885),(19.175,0.255),(18.845,0.255),(18.845,0.715),(18.29,0.715),(18.29,0.255),(17.145,0.255)],
  [(17.04,2.465),(18.205,2.465),(18.205,1.665),(18.925,1.665),(18.925,2.21),(18.895,2.21),(18.895,2.465),(19.225,2.465),(19.225,1.495),(18.035,1.495),(18.035,2.295),(17.21,2.295),(17.21,1.645),(17.04,1.645)],
  [(18.425,2.635),(18.725,2.635),(18.725,2.105),(18.755,2.105),(18.755,1.835),(18.425,1.835)],
  [(22.2,2.465),(21.87,2.465),(21.87,1.635),(21.77,1.635),(21.77,1.475),(21.665,1.475),(21.665,0.585),(22.165,0.585),(22.165,0.755),(21.835,0.755),(21.835,1.305),(21.94,1.305),(21.94,1.465),(22.2,1.465)],
  [(21.495,0.77),(21.325,0.77),(21.325,0.425),(20.655,0.425),(20.655,0.925),(20.35,0.925),(20.35,0.885),(19.465,0.885),(19.465,0.255),(19.795,0.255),(19.795,0.715),(20.35,0.715),(20.35,0.255),(21.495,0.255)],
  [(21.6,2.465),(20.435,2.465),(20.435,1.665),(19.715,1.665),(19.715,2.21),(19.745,2.21),(19.745,2.465),(19.415,2.465),(19.415,1.495),(20.605,1.495),(20.605,2.295),(21.43,2.295),(21.43,1.645),(21.6,1.645)],
  [(20.215,2.635),(19.915,2.635),(19.915,2.105),(19.885,2.105),(19.885,1.835),(20.215,1.835)],
  [(22.88,2.465),(23.21,2.465),(23.21,1.635),(23.31,1.635),(23.31,1.475),(23.415,1.475),(23.415,0.585),(22.915,0.585),(22.915,0.755),(23.245,0.755),(23.245,1.305),(23.14,1.305),(23.14,1.465),(22.88,1.465)],
  [(23.585,0.77),(23.755,0.77),(23.755,0.425),(24.425,0.425),(24.425,0.925),(24.73,0.925),(24.73,0.885),(25.615,0.885),(25.615,0.255),(25.285,0.255),(25.285,0.715),(24.73,0.715),(24.73,0.255),(23.585,0.255)],
  [(23.48,2.465),(24.645,2.465),(24.645,1.665),(25.365,1.665),(25.365,2.21),(25.335,2.21),(25.335,2.465),(25.665,2.465),(25.665,1.495),(24.475,1.495),(24.475,2.295),(23.65,2.295),(23.65,1.645),(23.48,1.645)],
  [(24.865,2.635),(25.165,2.635),(25.165,2.105),(25.195,2.105),(25.195,1.835),(24.865,1.835)])
A(sky130_fd_sc_hdll__muxb8, mcon, 0.145, -0.085, 0.17, 0.17, 7, 2, 0.46, 2.72)
A(sky130_fd_sc_hdll__muxb8, mcon, 3.365, -0.085, 0.17, 0.17, 14, 2, 0.46, 2.72)
A(sky130_fd_sc_hdll__muxb8, mcon, 9.805, -0.085, 0.17, 0.17, 14, 2, 0.46, 2.72)
A(sky130_fd_sc_hdll__muxb8, mcon, 16.245, -0.085, 0.17, 0.17, 14, 2, 0.46, 2.72)
A(sky130_fd_sc_hdll__muxb8, mcon, 22.685, -0.085, 0.17, 0.17, 7, 2, 0.46, 2.72)
A(sky130_fd_sc_hdll__muxb8, mcon, 1.525, 1.785, 0.17, 0.17, 8, 1, 3.22, 0)
R(sky130_fd_sc_hdll__muxb8, mcon, [(2.905,-0.085,3.075,0.085), (3.365,-0.085,3.535,0.085), (9.345,-0.085,9.515,0.085), (9.805,-0.085,9.975,0.085), (15.785,-0.085,15.955,0.085), (16.245,-0.085,16.415,0.085), (22.225,-0.085,22.395,0.085), (22.685,-0.085,22.855,0.085), (2.905,2.635,3.075,2.805), (3.365,2.635,3.535,2.805), (9.345,2.635,9.515,2.805), (9.805,2.635,9.975,2.805), (15.785,2.635,15.955,2.805), (16.245,2.635,16.415,2.805), (22.225,2.635,22.395,2.805), (22.685,2.635,22.855,2.805)])
A(sky130_fd_sc_hdll__muxb8, met1_pin, 1.525, 1.785, 0.17, 0.17, 8, 1, 3.22, 0)
R(sky130_fd_sc_hdll__muxb8, met1_pin, [(0.145,-0.085,0.315,0.085), (0.145,-0.085,0.315,0.085), (6.125,-0.085,6.295,0.085), (6.585,-0.085,6.755,0.085), (12.565,-0.085,12.735,0.085), (13.025,-0.085,13.195,0.085), (19.005,-0.085,19.175,0.085), (19.465,-0.085,19.635,0.085), (25.445,-0.085,25.615,0.085), (1.525,1.785,1.695,1.955), (0.145,2.635,0.315,2.805), (0.145,2.635,0.315,2.805), (6.125,2.635,6.295,2.805), (6.585,2.635,6.755,2.805), (12.565,2.635,12.735,2.805), (13.025,2.635,13.195,2.805), (19.005,2.635,19.175,2.805), (19.465,2.635,19.635,2.805), (25.445,2.635,25.615,2.805)])
A(sky130_fd_sc_hdll__muxb8, met1, 1.465, 1.755, 0.29, 0.23, 8, 1, 3.22, 0)
R(sky130_fd_sc_hdll__muxb8, met1, [(0,-0.24,3.68,0.24), (2.76,-0.24,6.44,0.24), (6.44,-0.24,10.12,0.24), (9.2,-0.24,12.88,0.24), (12.88,-0.24,16.56,0.24), (15.64,-0.24,19.32,0.24), (19.32,-0.24,23,0.24), (22.08,-0.24,25.76,0.24), (1.465,1.8,1.875,1.94), (1.465,1.8,24.295,1.94), (4.565,1.8,4.975,1.94), (7.905,1.8,8.315,1.94), (11.005,1.8,11.415,1.94), (14.345,1.8,14.755,1.94), (17.445,1.8,17.855,1.94), (20.785,1.8,21.195,1.94), (23.885,1.8,24.295,1.94), (0,2.48,3.68,2.96), (2.76,2.48,6.44,2.96), (6.44,2.48,10.12,2.96), (9.2,2.48,12.88,2.96), (12.88,2.48,16.56,2.96), (15.64,2.48,19.32,2.96), (19.32,2.48,23,2.96), (22.08,2.48,25.76,2.96)])
R(sky130_fd_sc_hdll__muxb8, hvtp, [(0,1.25,3.68,2.72), (2.76,1.25,6.44,2.72), (6.44,1.25,10.12,2.72), (9.2,1.25,12.88,2.72), (12.88,1.25,16.56,2.72), (15.64,1.25,19.32,2.72), (19.32,1.25,23,2.72), (22.08,1.25,25.76,2.72)])
R(sky130_fd_sc_hdll__muxb8, stdcell_id, [(0,0,25.76,2.72)])
R(sky130_fd_sc_hdll__muxb8, nsdm, [(0,-0.19,3.68,1.015), (2.76,-0.19,6.44,1.015), (6.44,-0.19,10.12,1.015), (9.2,-0.19,12.88,1.015), (12.88,-0.19,16.56,1.015), (15.64,-0.19,19.32,1.015), (19.32,-0.19,23,1.015), (22.08,-0.19,25.76,1.015)])
P(sky130_fd_sc_hdll__muxb8, psdm, [(15.64,2.91),(19.32,2.91),(19.32,1.355),(17.305,1.355),(17.305,1.535),(16.86,1.535),(16.86,1.355),(15.64,1.355)],
  [(16.56,2.91),(12.88,2.91),(12.88,1.355),(14.895,1.355),(14.895,1.535),(15.34,1.535),(15.34,1.355),(16.56,1.355)],
  [(9.2,2.91),(12.88,2.91),(12.88,1.355),(10.865,1.355),(10.865,1.535),(10.42,1.535),(10.42,1.355),(9.2,1.355)],
  [(10.12,2.91),(6.44,2.91),(6.44,1.355),(8.455,1.355),(8.455,1.535),(8.9,1.535),(8.9,1.355),(10.12,1.355)],
  [(2.76,2.91),(6.44,2.91),(6.44,1.355),(4.425,1.355),(4.425,1.535),(3.98,1.535),(3.98,1.355),(2.76,1.355)],
  [(3.68,2.91),(0,2.91),(0,1.355),(2.015,1.355),(2.015,1.535),(2.46,1.535),(2.46,1.355),(3.68,1.355)],
  [(23,2.91),(19.32,2.91),(19.32,1.355),(21.335,1.355),(21.335,1.535),(21.78,1.535),(21.78,1.355),(23,1.355)],
  [(22.08,2.91),(25.76,2.91),(25.76,1.355),(23.745,1.355),(23.745,1.535),(23.3,1.535),(23.3,1.355),(22.08,1.355)])
P(sky130_fd_sc_hdll__muxb8, npc, [(2.76,1.345),(3.99,1.345),(3.99,1.525),(4.415,1.525),(4.415,1.345),(6.44,1.345),(6.44,0.975),(2.76,0.975)],
  [(10.12,1.345),(8.89,1.345),(8.89,1.525),(8.465,1.525),(8.465,1.345),(6.44,1.345),(6.44,0.975),(10.12,0.975)],
  [(9.2,1.345),(10.43,1.345),(10.43,1.525),(10.855,1.525),(10.855,1.345),(12.88,1.345),(12.88,0.975),(9.2,0.975)],
  [(15.64,1.345),(16.87,1.345),(16.87,1.525),(17.295,1.525),(17.295,1.345),(19.32,1.345),(19.32,0.975),(15.64,0.975)],
  [(3.68,1.345),(2.45,1.345),(2.45,1.525),(2.025,1.525),(2.025,1.345),(0,1.345),(0,0.975),(3.68,0.975)],
  [(16.56,1.345),(15.33,1.345),(15.33,1.525),(14.905,1.525),(14.905,1.345),(12.88,1.345),(12.88,0.975),(16.56,0.975)],
  [(22.08,1.345),(23.31,1.345),(23.31,1.525),(23.735,1.525),(23.735,1.345),(25.76,1.345),(25.76,0.975),(22.08,0.975)],
  [(23,1.345),(21.77,1.345),(21.77,1.525),(21.345,1.525),(21.345,1.345),(19.32,1.345),(19.32,0.975),(23,0.975)])
R(sky130_fd_sc_hdll__muxb8, pwell_pin, [(0.145,-0.085,0.315,0.085), (0.145,-0.085,0.315,0.085), (6.125,-0.085,6.295,0.085), (6.585,-0.085,6.755,0.085), (12.565,-0.085,12.735,0.085), (13.025,-0.085,13.195,0.085), (19.005,-0.085,19.175,0.085), (19.465,-0.085,19.635,0.085), (25.445,-0.085,25.615,0.085)])
R(sky130_fd_sc_hdll__muxb8, boundary2, [(0,0,25.76,2.72)])
sky130_fd_sc_hdll__muxb8.add(gdstk.Label('muxb8to1_2', (0,0), layer=83, texttype=44))
sky130_fd_sc_hdll__muxb8.add(gdstk.Label('Z', (1.61,1.87), layer=68, texttype=5))
sky130_fd_sc_hdll__muxb8.add(gdstk.Label('VGND', (0.23,0), layer=68, texttype=5))
sky130_fd_sc_hdll__muxb8.add(gdstk.Label('VPWR', (0.23,2.72), layer=68, texttype=5))
sky130_fd_sc_hdll__muxb8.add(gdstk.Label('VGND', (13.11,0), layer=68, texttype=5))
sky130_fd_sc_hdll__muxb8.add(gdstk.Label('VPWR', (13.11,2.72), layer=68, texttype=5))
sky130_fd_sc_hdll__muxb8.add(gdstk.Label('VGND', (12.65,0), layer=68, texttype=5))
sky130_fd_sc_hdll__muxb8.add(gdstk.Label('VPWR', (12.65,2.72), layer=68, texttype=5))
sky130_fd_sc_hdll__muxb8.add(gdstk.Label('VGND', (6.67,0), layer=68, texttype=5))
sky130_fd_sc_hdll__muxb8.add(gdstk.Label('VPWR', (6.67,2.72), layer=68, texttype=5))
sky130_fd_sc_hdll__muxb8.add(gdstk.Label('VGND', (6.21,0), layer=68, texttype=5))
sky130_fd_sc_hdll__muxb8.add(gdstk.Label('VPWR', (6.21,2.72), layer=68, texttype=5))
sky130_fd_sc_hdll__muxb8.add(gdstk.Label('VGND', (0.23,0), layer=68, texttype=5))
sky130_fd_sc_hdll__muxb8.add(gdstk.Label('VPWR', (0.23,2.72), layer=68, texttype=5))
sky130_fd_sc_hdll__muxb8.add(gdstk.Label('VPWR', (19.09,2.72), layer=68, texttype=5))
sky130_fd_sc_hdll__muxb8.add(gdstk.Label('VGND', (19.09,0), layer=68, texttype=5))
sky130_fd_sc_hdll__muxb8.add(gdstk.Label('VPWR', (19.55,2.72), layer=68, texttype=5))
sky130_fd_sc_hdll__muxb8.add(gdstk.Label('VGND', (19.55,0), layer=68, texttype=5))
sky130_fd_sc_hdll__muxb8.add(gdstk.Label('VPWR', (25.53,2.72), layer=68, texttype=5))
sky130_fd_sc_hdll__muxb8.add(gdstk.Label('VGND', (25.53,0), layer=68, texttype=5))
sky130_fd_sc_hdll__muxb8.add(gdstk.Label('VNB', (0.23,0), layer=64, texttype=59))
sky130_fd_sc_hdll__muxb8.add(gdstk.Label('VNB', (13.11,0), layer=64, texttype=59))
sky130_fd_sc_hdll__muxb8.add(gdstk.Label('VNB', (12.65,0), layer=64, texttype=59))
sky130_fd_sc_hdll__muxb8.add(gdstk.Label('VNB', (6.67,0), layer=64, texttype=59))
sky130_fd_sc_hdll__muxb8.add(gdstk.Label('VNB', (6.21,0), layer=64, texttype=59))
sky130_fd_sc_hdll__muxb8.add(gdstk.Label('VNB', (0.23,0), layer=64, texttype=59))
sky130_fd_sc_hdll__muxb8.add(gdstk.Label('VNB', (19.09,0), layer=64, texttype=59))
sky130_fd_sc_hdll__muxb8.add(gdstk.Label('VNB', (19.55,0), layer=64, texttype=59))
sky130_fd_sc_hdll__muxb8.add(gdstk.Label('VNB', (25.53,0), layer=64, texttype=59))
sky130_fd_sc_hdll__muxb8.add(gdstk.Label('VPB', (0.23,2.72), layer=64, texttype=5))
sky130_fd_sc_hdll__muxb8.add(gdstk.Label('VPB', (13.11,2.72), layer=64, texttype=5))
sky130_fd_sc_hdll__muxb8.add(gdstk.Label('VPB', (12.65,2.72), layer=64, texttype=5))
sky130_fd_sc_hdll__muxb8.add(gdstk.Label('VPB', (6.67,2.72), layer=64, texttype=5))
sky130_fd_sc_hdll__muxb8.add(gdstk.Label('VPB', (6.21,2.72), layer=64, texttype=5))
sky130_fd_sc_hdll__muxb8.add(gdstk.Label('VPB', (0.23,2.72), layer=64, texttype=5))
sky130_fd_sc_hdll__muxb8.add(gdstk.Label('VPB', (19.09,2.72), layer=64, texttype=5))
sky130_fd_sc_hdll__muxb8.add(gdstk.Label('VPB', (19.55,2.72), layer=64, texttype=5))
sky130_fd_sc_hdll__muxb8.add(gdstk.Label('VPB', (25.53,2.72), layer=64, texttype=5))
sky130_fd_sc_hdll__muxb8.add(gdstk.Label('D[2]', (6.67,1.19), layer=67, texttype=5))
sky130_fd_sc_hdll__muxb8.add(gdstk.Label('D[1]', (6.21,1.19), layer=67, texttype=5))
sky130_fd_sc_hdll__muxb8.add(gdstk.Label('S[7]', (22.77,1.19), layer=67, texttype=5))
sky130_fd_sc_hdll__muxb8.add(gdstk.Label('S[6]', (22.31,1.19), layer=67, texttype=5))
sky130_fd_sc_hdll__muxb8.add(gdstk.Label('S[5]', (16.33,1.19), layer=67, texttype=5))
sky130_fd_sc_hdll__muxb8.add(gdstk.Label('S[4]', (15.87,1.19), layer=67, texttype=5))
sky130_fd_sc_hdll__muxb8.add(gdstk.Label('S[3]', (9.89,1.19), layer=67, texttype=5))
sky130_fd_sc_hdll__muxb8.add(gdstk.Label('S[2]', (9.43,1.19), layer=67, texttype=5))
sky130_fd_sc_hdll__muxb8.add(gdstk.Label('S[1]', (3.45,1.19), layer=67, texttype=5))
sky130_fd_sc_hdll__muxb8.add(gdstk.Label('S[0]', (2.99,1.19), layer=67, texttype=5))
sky130_fd_sc_hdll__muxb8.add(gdstk.Label('D[7]', (25.53,1.19), layer=67, texttype=5))
sky130_fd_sc_hdll__muxb8.add(gdstk.Label('D[6]', (19.55,1.19), layer=67, texttype=5))
sky130_fd_sc_hdll__muxb8.add(gdstk.Label('D[5]', (19.09,1.19), layer=67, texttype=5))
sky130_fd_sc_hdll__muxb8.add(gdstk.Label('D[4]', (13.11,1.19), layer=67, texttype=5))
sky130_fd_sc_hdll__muxb8.add(gdstk.Label('D[3]', (12.65,1.19), layer=67, texttype=5))
sky130_fd_sc_hdll__muxb8.add(gdstk.Label('D[0]', (0.23,1.19), layer=67, texttype=5))

lib.write_gds('sky130_fd_sc_hdll__muxb8to1_2.gds')
